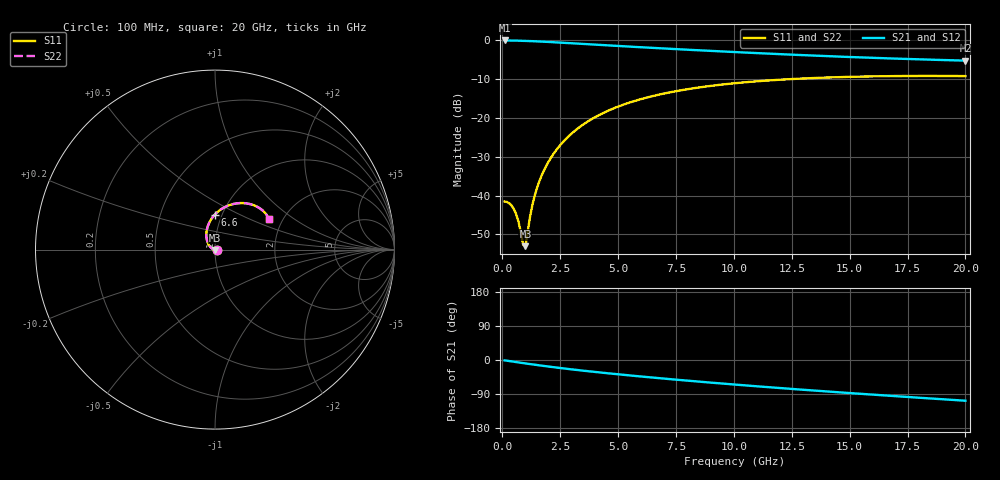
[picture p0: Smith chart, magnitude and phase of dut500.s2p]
! Touchstone file exported from HFSS 2024.1.0
!  File:  C:/UserFiles/LocalFiles/RDL_TSV_Batchsim/temp_RDL_TSV_500_1779737296.aedt
!  Generated:  03:43:48 AM May 26, 2026
!  Design:  RDL_TSV
!  Project:  temp_RDL_TSV_500_1779737296
!  Setup:  Setup1
!  Solution:  Sweep
! Variables:
!  dtsv = 6.11um
!  hbump = 3um
!  htsv = 84.53um
!  ldown = 160.98um
!  lrdl = 162.05um
!  p = 40
!  p1 = 40.69um
!  rhole = 10um
!  subl = 1131.14um
!  t = 450um
!  tdown = 3.52um
!  trdl = 3.63um
!  viad = 10um
!  wdown = 22.04um
!  wrdl = 14.77um
!  xbump = 18um
# GHz S MA R 50.000000
! Terminal data exported
! Port[1] = TM1_1_T1
! Port[2] = TM1_4_T1
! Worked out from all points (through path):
!   200 points, 100 MHz to 20 GHz, reference 50 ohm
!   highest |S21| = -0.08 dB at 100 MHz (marker M1); lowest = -5.3 dB at 20 GHz (marker M2)
!   group delay of S21, straight-line fit = 14.2 ps
!   lowest |S11| = -53.0 dB at 1 GHz (marker M3), VSWR 1.00, Z = 49.9 - j0.189 ohm
!   |S11| at or under -10 dB: start of sweep to 12.51 GHz
!   |S22| runs from -53.0 to -9.2 dB; largest |S21 - S12| = 3.8e-14
!   S11 on the Smith chart (normalised r, x): 100 MHz: 1.02, -0.00; 6.6 GHz: 0.92, +0.37; 20 GHz: 1.69, +0.66
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0.1  0.008403 -1.7  0.9913 -0.9  0.9913 -0.9  0.008403 -1.7
! Gamma 0 0 0 0
! Port Impedance 50 0 50 0
0.3  0.007985 -7.1  0.9899 -2.8  0.9899 -2.8  0.007986 -7.2
0.5  0.006705 -15.8  0.9876 -4.6  0.9876 -4.6  0.006707 -15.9
0.7  0.00461 -30.2  0.9845 -6.4  0.9845 -6.4  0.004614 -30.2
0.9  0.002325 -72.3  0.9807 -8.2  0.9807 -8.2  0.00233 -72.2
1  0.002237 -121.9  0.9785 -9.0  0.9785 -9.0  0.002237 -121.7
1.2  0.005393 -172.7  0.9735 -10.8  0.9735 -10.8  0.005386 -172.7
1.3  0.007592 178.2  0.9708 -11.6  0.9708 -11.6  0.007582 178.3
1.5  0.01257 167.5  0.9651 -13.3  0.9651 -13.3  0.01255 167.6
1.8  0.02111 157.6  0.9555 -15.8  0.9555 -15.8  0.02108 157.6
2.1  0.03065 150.1  0.9453 -18.1  0.9453 -18.1  0.03062 150.1
2.5  0.04454 141.8  0.9309 -21.2  0.9309 -21.2  0.0445 141.9
3  0.06314 133.0  0.9124 -24.8  0.9124 -24.8  0.06308 133.0
3.5  0.08242 125.2  0.894 -28.2  0.894 -28.2  0.08235 125.2
4.8  0.1323 108.4  0.8486 -36.5  0.8486 -36.5  0.1322 108.4
6.6  0.1941 90.5  0.7925 -47.0  0.7925 -47.0  0.194 90.5
6.8  0.2003 88.8  0.7867 -48.1  0.7867 -48.1  0.2001 88.8
8.3  0.2416 77.4  0.7456 -56.1  0.7456 -56.1  0.2415 77.4
10.1  0.2804 66.1  0.7015 -65.1  0.7015 -65.1  0.2803 66.1
13.4  0.3254 50.2  0.634 -80.3  0.634 -80.3  0.3252 50.2
16.7  0.3444 38.5  0.5828 -94.3  0.5828 -94.3  0.3442 38.4
20  0.3449 29.7  0.5455 -107.5  0.5455 -107.5  0.3447 29.7
